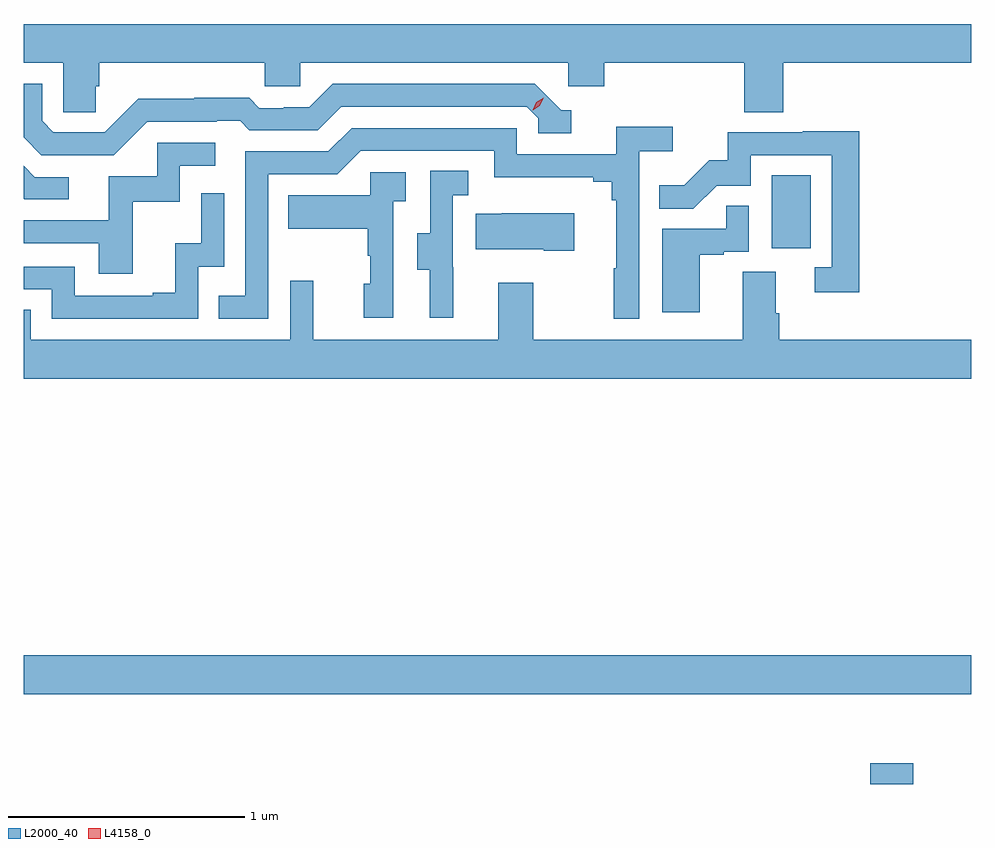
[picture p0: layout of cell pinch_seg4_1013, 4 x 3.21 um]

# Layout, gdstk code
import gdstk
lib = gdstk.Library(unit=1e-6, precision=1e-09)
def R(c, l, rs):  # rectangles x0, y0, x1, y1
    for r in rs: c.add(gdstk.rectangle(r[:2], r[2:], *l))
def P(c, l, *ps):  # polygons
    for p in ps: c.add(gdstk.Polygon(p, *l))
L2000_40 = (2000, 40)
L4158_0 = (4158, 0)

pinch_seg4_1013 = lib.new_cell('pinch_seg4_1013')
R(pinch_seg4_1013, L2000_40, [(817.346,783.121,817.529,783.208), (813.774,783.5,817.774,783.664), (816.932,785.382,817.096,785.689)])
P(pinch_seg4_1013, L2000_40, [(814.079,786.066),(814.094,786.066),(814.094,786.164),(814.791,786.164),(814.791,786.066),(814.941,786.066),(814.941,786.164),(816.072,786.164),(816.072,786.066),(816.224,786.066),(816.224,786.164),(816.815,786.164),(816.815,785.956),(816.98,785.956),(816.98,786.164),(817.774,786.164),(817.774,786.328),(813.774,786.328),(813.774,786.164),(813.942,786.164),(813.942,785.956),(814.079,785.956)],
  [(814.296,785.916),(814.589,785.916),(814.589,785.919),(814.688,785.919),(814.727,785.88),(815.016,785.88),(815.115,785.979),(815.898,785.979),(815.946,785.931),(815.946,785.868),(816.085,785.868),(816.085,785.964),(816.042,785.964),(815.931,786.075),(815.078,786.075),(814.979,785.976),(814.872,785.976),(814.872,785.973),(814.769,785.973),(814.727,786.016),(814.494,786.016),(814.494,786.013),(814.258,786.013),(814.116,785.871),(813.9,785.871),(813.852,785.919),(813.852,786.075),(813.774,786.075),(813.774,785.85),(813.849,785.775),(814.155,785.775)],
  [(814.806,785.694),(815.097,785.694),(815.196,785.793),(815.76,785.793),(815.76,785.681),(816.179,785.681),(816.179,785.662),(816.256,785.662),(816.256,785.585),(816.275,785.585),(816.275,785.297),(816.264,785.297),(816.264,785.085),(816.372,785.085),(816.372,785.792),(816.514,785.792),(816.514,785.894),(816.275,785.894),(816.275,785.778),(815.856,785.778),(815.856,785.889),(815.159,785.889),(815.06,785.79),(814.71,785.79),(814.71,785.181),(814.597,785.181),(814.597,785.085),(814.806,785.085)],
  [(817.301,785.876),(817.063,785.876),(817.063,785.871),(816.745,785.871),(816.745,785.754),(816.668,785.754),(816.561,785.647),(816.457,785.647),(816.457,785.548),(816.601,785.548),(816.699,785.646),(816.843,785.646),(816.843,785.775),(817.185,785.775),(817.185,785.301),(817.113,785.301),(817.113,785.196),(817.301,785.196)],
  [(814.235,785.577),(814.434,785.577),(814.434,785.73),(814.582,785.73),(814.582,785.826),(814.338,785.826),(814.338,785.685),(814.133,785.685),(814.133,785.499),(813.774,785.499),(813.774,785.403),(814.091,785.403),(814.091,785.274),(814.235,785.274)],
  [(813.964,785.682),(813.822,785.682),(813.774,785.73),(813.774,785.591),(813.776,785.589),(813.964,785.589)],
  [(815.588,785.301),(815.586,785.301),(815.586,785.605),(815.65,785.605),(815.65,785.708),(815.49,785.708),(815.49,785.445),(815.435,785.445),(815.435,785.29),(815.489,785.29),(815.489,785.088),(815.588,785.088)],
  [(815.334,785.579),(815.386,785.579),(815.386,785.703),(815.238,785.703),(815.238,785.605),(814.891,785.605),(814.891,785.465),(815.226,785.465),(815.226,785.351),(815.236,785.351),(815.236,785.232),(815.21,785.232),(815.21,785.088),(815.334,785.088)],
  [(814.512,785.304),(814.62,785.304),(814.62,785.614),(814.524,785.614),(814.524,785.402),(814.415,785.402),(814.415,785.194),(814.319,785.194),(814.319,785.181),(813.99,785.181),(813.99,785.304),(813.774,785.304),(813.774,785.208),(813.894,785.208),(813.894,785.085),(814.512,785.085)],
  [(816.628,785.355),(816.728,785.355),(816.728,785.367),(816.834,785.367),(816.834,785.561),(816.739,785.561),(816.739,785.463),(816.47,785.463),(816.47,785.112),(816.628,785.112)],
  [(816.097,785.53),(815.791,785.53),(815.791,785.527),(815.683,785.527),(815.683,785.378),(815.969,785.378),(815.969,785.371),(816.097,785.371)],
  [(817.774,784.996),(816.962,784.996),(816.962,785.108),(816.949,785.108),(816.949,785.282),(816.809,785.282),(816.809,784.996),(815.925,784.996),(815.925,785.236),(815.777,785.236),(815.777,784.996),(814.997,784.996),(814.997,785.245),(814.899,785.245),(814.899,784.996),(813.804,784.996),(813.804,785.123),(813.774,785.123),(813.774,784.832),(817.774,784.832)])
P(pinch_seg4_1013, L4158_0, [(815.923,785.964),(815.923,785.965),(815.938,785.997),(815.969,786.017),(815.969,786.017),(815.969,786.017),(815.953,785.984),(815.923,785.964)])

lib.write_gds('pinch_seg4_1013.gds')
